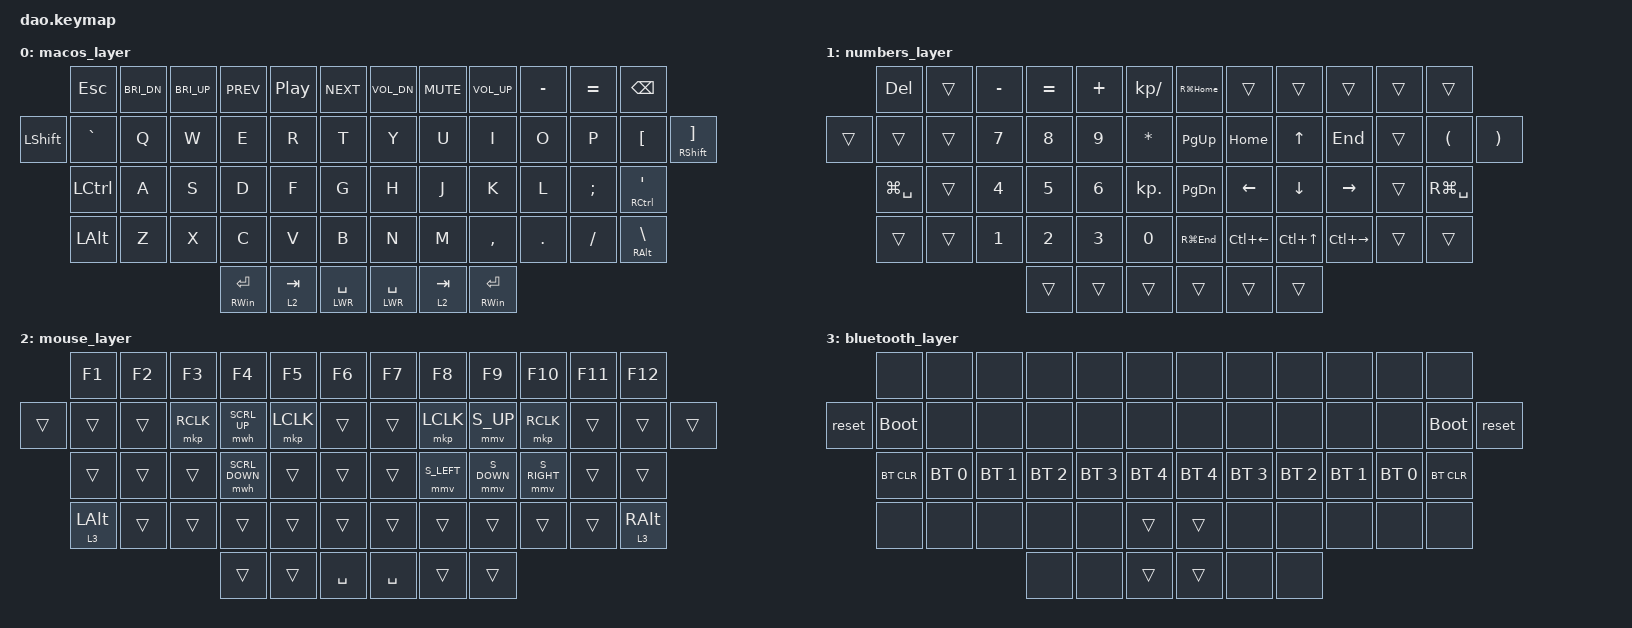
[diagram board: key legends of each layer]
/*
 * Copyright (c) 2021 Rafael Yumagulov
 *
 * SPDX-License-Identifier: MIT
 */

#include <behaviors.dtsi>
#include <dt-bindings/zmk/keys.h>
#include <dt-bindings/zmk/bt.h>

#define DEF 0
#define LWR 1
#define RSE 2
#define ADJ 3

&lt {
    quick_tap_ms = <200>;
};

&mt {
    quick_tap_ms = <200>;
};

/ {
    keymap {
        compatible = "zmk,keymap";

        macos_layer {
            bindings = <
           &kp ESC    &kp C_BRI_DN  &kp C_BRI_UP  &kp C_PREV    &kp C_PP   &kp C_NEXT       &kp C_VOL_DN   &kp C_MUTE  &kp C_VOL_UP  &kp MINUS  &kp EQUAL  &kp BSPC
&kp LSHFT  &kp GRAVE  &kp Q         &kp W         &kp E         &kp R      &kp T            &kp Y          &kp U       &kp I         &kp O      &kp P      &kp LBKT       &mt RSHFT RBKT
           &kp LCTRL  &kp A         &kp S         &kp D         &kp F      &kp G            &kp H          &kp J       &kp K         &kp L      &kp SEMI   &mt RCTRL SQT
           &kp LALT   &kp Z         &kp X         &kp C         &kp V      &kp B            &kp N          &kp M       &kp COMMA     &kp DOT    &kp FSLH   &mt RALT BSLH
                                                  &mt RWIN RET  &lt 2 TAB  &lt LWR SPACE    &lt LWR SPACE  &lt 2 TAB   &mt RWIN RET
            >;
        };

        numbers_layer {
            bindings = <
        &kp DELETE     &trans  &kp MINUS  &kp EQUAL  &kp PLUS  &kp KP_DIVIDE    &kp RG(HOME)  &trans              &trans            &trans         &trans  &trans
&trans  &trans         &trans  &kp N7     &kp N8     &kp N9    &kp STAR         &kp PG_UP     &kp HOME            &kp UP            &kp END        &trans  &kp LEFT_PARENTHESIS  &kp RIGHT_PARENTHESIS
        &kp LG(SPACE)  &trans  &kp N4     &kp N5     &kp N6    &kp KP_DOT       &kp PG_DN     &kp LEFT            &kp DOWN          &kp RIGHT      &trans  &kp RG(SPACE)
        &trans         &trans  &kp N1     &kp N2     &kp N3    &kp N0           &kp RG(END)   &kp LC(LEFT_ARROW)  &kp LC(UP_ARROW)  &kp LC(RIGHT)  &trans  &trans
                                          &trans     &trans    &trans           &trans        &trans              &trans
            >;
        };

        mouse_layer {
            bindings = <
        &kp F1      &kp F2  &kp F3          &kp F4          &kp F5           &kp F6       &kp F7     &kp F8       &kp F9       &kp F10       &kp F11  &kp F12
&trans  &trans      &trans  &mkp RCLK       &mwh SCRL_UP    &mkp LCLK        &trans       &trans     &mkp LCLK    &mmv S_UP    &mkp RCLK     &trans   &trans      &trans
        &trans      &trans  &trans          &mwh SCRL_DOWN  &trans           &trans       &trans     &mmv S_LEFT  &mmv S_DOWN  &mmv S_RIGHT  &trans   &trans
        &lt 3 LALT  &trans  &trans          &trans          &trans           &trans       &trans     &trans       &trans       &trans        &trans   &lt 3 RALT
                                            &trans          &trans           &kp SPACE    &kp SPACE  &trans       &trans
            >;
        };

        bluetooth_layer {
            bindings = <
        &none        &none         &none         &none         &none         &none           &none         &none         &none         &none         &none         &none
&reset  &bootloader  &none         &none         &none         &none         &none           &none         &none         &none         &none         &none         &bootloader  &reset
        &bt BT_CLR   &bt BT_SEL 0  &bt BT_SEL 1  &bt BT_SEL 2  &bt BT_SEL 3  &bt BT_SEL 4    &bt BT_SEL 4  &bt BT_SEL 3  &bt BT_SEL 2  &bt BT_SEL 1  &bt BT_SEL 0  &bt BT_CLR
        &none        &none         &none         &none         &none         &trans          &trans        &none         &none         &none         &none         &none
                                                 &none         &none         &trans          &trans        &none         &none
            >;
        };
    };
};
